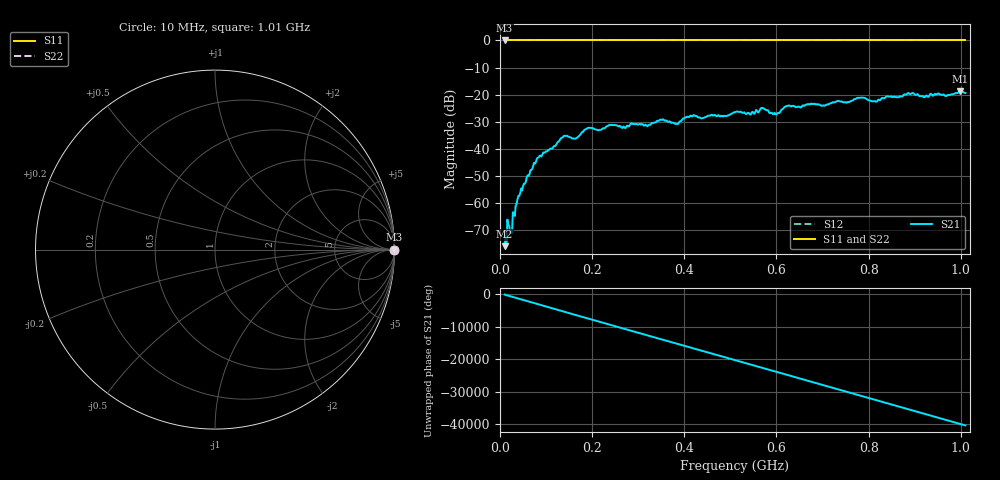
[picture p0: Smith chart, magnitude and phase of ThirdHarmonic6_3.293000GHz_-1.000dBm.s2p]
! 8/17/2025 10:14:52 AM
! C:\ANRITSUVNA\TEMP\TEMP.S2P
! CHANNEL.1
! TR.MEASUREMENT
! RAW.DATA
! RF.CORRECTION.OFF
! AVERAGING.OFF
! IF.BANDWIDTH: 5KHZ
! SWEEPTYPE:  FREQ.SWEEP(Linear)
! Reference Plane Port Info
! PORT:  PORT1  PORT2
! DISTANCE:  0  m  0  m
! TIME:  0  s  0  s
! PHASE.OFFSET:  0  deg.  0  deg.
! LOSS:  0  dB  0  dB
! REF.LOSS:  0  dB  0  dB
! REF.FREQ:  0  Hz  0  Hz
! Power Info
! POWER:  -20  dBm  -20  dBm
! EFF.POWER:  -20  dBm  -20  dBm
! SOURCE.ATTEN:  0  dB  0  dB
! TEST.ATTEN:  0  dB  0  dB
# GHZ S RI R 50.0
! FREQ.GHZ  S11RE  S11IM  S21RE  S21IM  S12RE  S12IM  S22RE  S22IM
!; PortSelection: Port_12
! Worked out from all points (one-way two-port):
!   501 points, 10 MHz to 1.01 GHz, reference 50 ohm
!   highest |S21| = -18.75 dB at 998 MHz (marker M1); lowest = -75.9 dB at 10 MHz (marker M2)
!   lowest |S11| = 0.0 dB at 10 MHz (marker M3)
!   |S11| at or under -10 dB: nowhere
!   |S22| runs from 0.0 to 0.0 dB; largest |S21 - S12| = 1.1
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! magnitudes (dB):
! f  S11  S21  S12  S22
! 10 MHz  0.0  -75.9  0.0  0.0
! 16 MHz  0.0  -66.0  0.0  0.0
! 26 MHz  0.0  -71.1  0.0  0.0
! 42 MHz  0.0  -57.3  0.0  0.0
! 82 MHz  0.0  -43.3  0.0  0.0
! 136 MHz  0.0  -35.7  0.0  0.0
! 164 MHz  0.0  -36.2  0.0  0.0
! 178 MHz  0.0  -33.8  0.0  0.0
! 194 MHz  0.0  -32.2  0.0  0.0
! 344 MHz  0.0  -29.7  0.0  0.0
! 384 MHz  0.0  -30.8  0.0  0.0
! 416 MHz  0.0  -28.0  0.0  0.0
! 510 MHz  0.0  -26.5  0.0  0.0
! 570 MHz  0.0  -24.9  0.0  0.0
! 596 MHz  0.0  -26.7  0.0  0.0
! 624 MHz  0.0  -24.1  0.0  0.0
! 678 MHz  0.0  -23.5  0.0  0.0
! 782 MHz  0.0  -21.1  0.0  0.0
! 814 MHz  0.0  -22.4  0.0  0.0
! 844 MHz  0.0  -20.7  0.0  0.0
! 998 MHz  0.0  -18.8  0.0  0.0
! 1.01 GHz  0.0  -19.4  0.0  0.0
